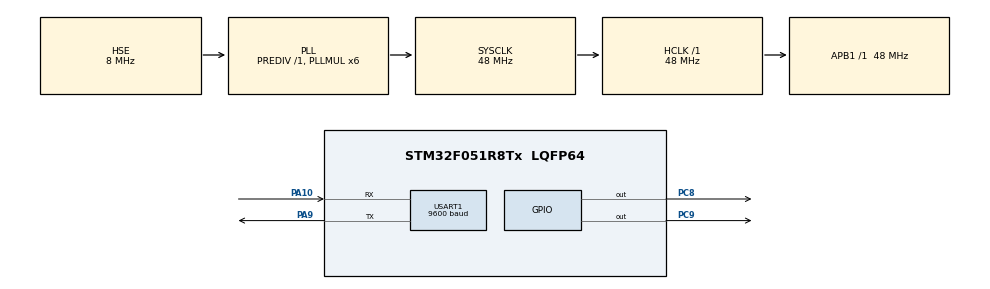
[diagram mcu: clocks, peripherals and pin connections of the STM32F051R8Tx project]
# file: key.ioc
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Dma.Request0=USART1_RX
Dma.USART1_RX.0.Direction=DMA_PERIPH_TO_MEMORY
Dma.USART1_RX.0.Instance=DMA1_Channel3
Dma.USART1_RX.0.MemDataAlignment=DMA_MDATAALIGN_BYTE
Dma.USART1_RX.0.MemInc=DMA_MINC_ENABLE
Dma.USART1_RX.0.Mode=DMA_CIRCULAR
Dma.USART1_RX.0.PeriphDataAlignment=DMA_PDATAALIGN_BYTE
Dma.USART1_RX.0.PeriphInc=DMA_PINC_DISABLE
Dma.USART1_RX.0.Priority=DMA_PRIORITY_LOW
Mcu.Family=STM32F0
Mcu.Name=STM32F051R8Tx
Mcu.Package=LQFP64
NVIC.DMA1_Channel2_3_IRQn=true\:0\:0\:false\:false\:true\:false\:true\:true
NVIC.USART1_IRQn=true\:0\:0\:false\:false\:true\:true\:true\:true
PA10.Mode=Asynchronous
PA10.Signal=USART1_RX
PA13.Mode=Serial_Wire
PA13.Signal=SYS_SWDIO
PA14.Mode=Serial_Wire
PA14.Signal=SYS_SWCLK
PA9.Mode=Asynchronous
PA9.Signal=USART1_TX
PC8.Signal=GPIO_Output
PC9.Signal=GPIO_Output
PF0-OSC_IN.Mode=HSE-External-Oscillator
PF0-OSC_IN.Signal=RCC_OSC_IN
PF1-OSC_OUT.Mode=HSE-External-Oscillator
PF1-OSC_OUT.Signal=RCC_OSC_OUT
ProjectManager.HeapSize=0x200
ProjectManager.StackSize=0x400
ProjectManager.TargetToolchain=STM32CubeIDE
RCC.AHBFreq_Value=48000000
RCC.APB1Freq_Value=48000000
RCC.APB1TimFreq_Value=48000000
RCC.HCLKFreq_Value=48000000
RCC.PLLMUL=RCC_PLL_MUL6
RCC.PLLSourceVirtual=RCC_PLLSOURCE_HSE
RCC.SYSCLKFreq_VALUE=48000000
RCC.SYSCLKSource=RCC_SYSCLKSOURCE_PLLCLK
USART1.BaudRate=9600
USART1.VirtualMode-Asynchronous=VM_ASYNC
USART1.WordLength=WORDLENGTH_8B
board=custom

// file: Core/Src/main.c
/* USER CODE BEGIN Header */
/* USER CODE END Header */
#include "main.h"
#include <stdio.h>

UART_HandleTypeDef huart1;
DMA_HandleTypeDef hdma_usart1_rx;
uint8_t rxdata;
int x = 10, y = 5; // Початкові координати
char direction = 'd'; // Початковий напрямок руху ('w', 's', 'a', 'd')

void SystemClock_Config(void);
static void MX_GPIO_Init(void);
static void MX_DMA_Init(void);
static void MX_USART1_UART_Init(void);
void send_coordinates();
/* USER CODE BEGIN PFP */
void HAL_UART_RxCpltCallback(UART_HandleTypeDef *huart) {
    if (huart->Instance == USART1) {
        // Виводимо отримані дані тільки при зміні напряму
        if (rxdata == 'W' || rxdata == 'S' || rxdata == 'A' || rxdata == 'D') {
            direction = rxdata;

        }

        HAL_UART_Receive_IT(&huart1, &rxdata, 1); // Продовжуємо прийом
    }
}
/* USER CODE END PFP */

/* USER CODE BEGIN 0 */
void send_coordinates() {
    char buffer[20];
    sprintf(buffer, "%d, %d\r\n", x, y);
    HAL_UART_Transmit(&huart1, (uint8_t *)buffer, strlen(buffer), HAL_MAX_DELAY);
}
/* USER CODE END 0 */

int main(void)
{

  /* MCU Configuration--------------------------------------------------------*/

  /* Reset of all peripherals, Initializes the Flash interface and the Systick. */
  HAL_Init();

  /* Configure the system clock */
  SystemClock_Config();

  /* Initialize all configured peripherals */
  MX_GPIO_Init();
  MX_DMA_Init();
  MX_USART1_UART_Init();
  /* USER CODE BEGIN 2 */
  HAL_UART_Receive_IT(&huart1, &rxdata, 1);
  /* USER CODE END 2 */

  /* Infinite loop */
  /* USER CODE BEGIN WHILE */
  while (1) {
         switch (direction) {
             case 'W': y++; break;  // Вгору
             case 'S': y--; break;  // Вниз
             case 'A': x++; break;  // Вліво
             case 'D': x--; break;  // Вправо
         }

         send_coordinates(); // Надсилаємо координати через UART
         HAL_Delay(500); // Регулює швидкість руху
     }
 }
    /* USER CODE END WHILE */

void SystemClock_Config(void)
{
  RCC_OscInitTypeDef RCC_OscInitStruct = {0};
  RCC_ClkInitTypeDef RCC_ClkInitStruct = {0};
  RCC_PeriphCLKInitTypeDef PeriphClkInit = {0};

  /** Initializes the RCC Oscillators according to the specified parameters
  * in the RCC_OscInitTypeDef structure.
  */
  RCC_OscInitStruct.OscillatorType = RCC_OSCILLATORTYPE_HSE;
  RCC_OscInitStruct.HSEState = RCC_HSE_ON;
  RCC_OscInitStruct.PLL.PLLState = RCC_PLL_ON;
  RCC_OscInitStruct.PLL.PLLSource = RCC_PLLSOURCE_HSE;
  RCC_OscInitStruct.PLL.PLLMUL = RCC_PLL_MUL6;
  RCC_OscInitStruct.PLL.PREDIV = RCC_PREDIV_DIV1;
  if (HAL_RCC_OscConfig(&RCC_OscInitStruct) != HAL_OK)
  {
    Error_Handler();
  }

  /** Initializes the CPU, AHB and APB buses clocks
  */
  RCC_ClkInitStruct.ClockType = RCC_CLOCKTYPE_HCLK|RCC_CLOCKTYPE_SYSCLK
                              |RCC_CLOCKTYPE_PCLK1;
  RCC_ClkInitStruct.SYSCLKSource = RCC_SYSCLKSOURCE_PLLCLK;
  RCC_ClkInitStruct.AHBCLKDivider = RCC_SYSCLK_DIV1;
  RCC_ClkInitStruct.APB1CLKDivider = RCC_HCLK_DIV1;

  if (HAL_RCC_ClockConfig(&RCC_ClkInitStruct, FLASH_LATENCY_1) != HAL_OK)
  {
    Error_Handler();
  }
  PeriphClkInit.PeriphClockSelection = RCC_PERIPHCLK_USART1;
  PeriphClkInit.Usart1ClockSelection = RCC_USART1CLKSOURCE_PCLK1;
  if (HAL_RCCEx_PeriphCLKConfig(&PeriphClkInit) != HAL_OK)
  {
    Error_Handler();
  }
}

static void MX_USART1_UART_Init(void)
{

  huart1.Instance = USART1;
  huart1.Init.BaudRate = 9600;
  huart1.Init.WordLength = UART_WORDLENGTH_8B;
  huart1.Init.StopBits = UART_STOPBITS_1;
  huart1.Init.Parity = UART_PARITY_NONE;
  huart1.Init.Mode = UART_MODE_TX_RX;
  huart1.Init.HwFlowCtl = UART_HWCONTROL_NONE;
  huart1.Init.OverSampling = UART_OVERSAMPLING_16;
  huart1.Init.OneBitSampling = UART_ONE_BIT_SAMPLE_DISABLE;
  huart1.AdvancedInit.AdvFeatureInit = UART_ADVFEATURE_NO_INIT;
  if (HAL_UART_Init(&huart1) != HAL_OK)
  {
    Error_Handler();
  }

}

static void MX_DMA_Init(void)
{

  /* DMA controller clock enable */
  __HAL_RCC_DMA1_CLK_ENABLE();

  /* DMA interrupt init */
  /* DMA1_Channel2_3_IRQn interrupt configuration */
  HAL_NVIC_SetPriority(DMA1_Channel2_3_IRQn, 0, 0);
  HAL_NVIC_EnableIRQ(DMA1_Channel2_3_IRQn);

}

static void MX_GPIO_Init(void)
{
  GPIO_InitTypeDef GPIO_InitStruct = {0};

  /* GPIO Ports Clock Enable */
  __HAL_RCC_GPIOF_CLK_ENABLE();
  __HAL_RCC_GPIOC_CLK_ENABLE();
  __HAL_RCC_GPIOA_CLK_ENABLE();

  /*Configure GPIO pin Output Level */
  HAL_GPIO_WritePin(GPIOC, GPIO_PIN_8|GPIO_PIN_9, GPIO_PIN_RESET);

  /*Configure GPIO pins : PC8 PC9 */
  GPIO_InitStruct.Pin = GPIO_PIN_8|GPIO_PIN_9;
  GPIO_InitStruct.Mode = GPIO_MODE_OUTPUT_PP;
  GPIO_InitStruct.Pull = GPIO_NOPULL;
  GPIO_InitStruct.Speed = GPIO_SPEED_FREQ_LOW;
  HAL_GPIO_Init(GPIOC, &GPIO_InitStruct);

}

void Error_Handler(void)
{
}
